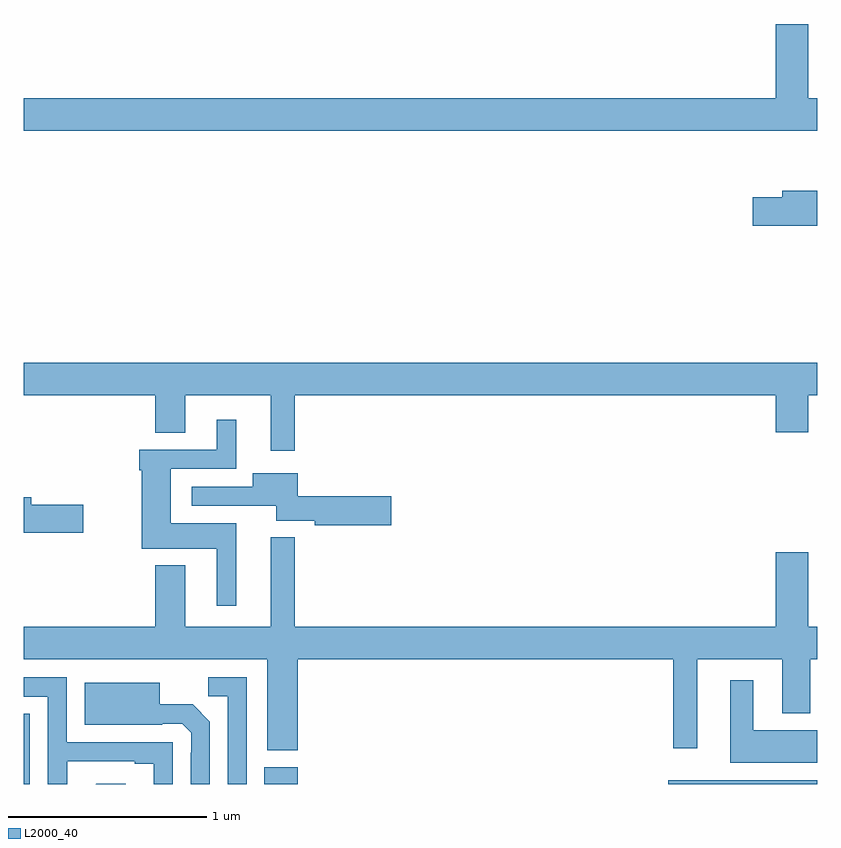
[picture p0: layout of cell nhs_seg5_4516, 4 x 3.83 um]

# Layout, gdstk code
import gdstk
lib = gdstk.Library(unit=1e-6, precision=1e-09)
def R(c, l, rs):  # rectangles x0, y0, x1, y1
    for r in rs: c.add(gdstk.rectangle(r[:2], r[2:], *l))
def P(c, l, *ps):  # polygons
    for p in ps: c.add(gdstk.Polygon(p, *l))
L2000_40 = (2000, 40)

nhs_seg5_4516 = lib.new_cell('nhs_seg5_4516')
R(nhs_seg5_4516, L2000_40, [(377,854.799,377.031,855.154), (378.212,854.799,378.382,854.884), (380.25,854.799,381,854.818)])
P(nhs_seg5_4516, L2000_40, [(381,858.256),(380.956,858.256),(380.956,858.631),(380.792,858.631),(380.792,858.256),(377,858.256),(377,858.092),(381,858.092)],
  [(381,857.791),(380.825,857.791),(380.825,857.757),(380.676,857.757),(380.676,857.615),(381,857.615)],
  [(378.367,856.76),(380.792,856.76),(380.792,856.572),(380.956,856.572),(380.956,856.76),(381,856.76),(381,856.924),(377,856.924),(377,856.76),(377.663,856.76),(377.663,856.57),(377.815,856.57),(377.815,856.76),(378.245,856.76),(378.245,856.479),(378.367,856.479)],
  [(378.07,856.114),(377.74,856.114),(377.74,856.389),(378.07,856.389),(378.07,856.636),(377.972,856.636),(377.972,856.485),(377.582,856.485),(377.582,856.382),(377.594,856.382),(377.594,855.986),(377.972,855.986),(377.972,855.699),(378.07,855.699)],
  [(378.853,856.25),(378.382,856.25),(378.382,856.366),(378.155,856.366),(378.155,856.299),(377.847,856.299),(377.847,856.203),(378.272,856.203),(378.272,856.127),(378.468,856.127),(378.468,856.103),(378.853,856.103)],
  [(377.299,856.208),(377.038,856.208),(377.038,856.244),(377,856.244),(377,856.066),(377.299,856.066)],
  [(378.38,855.428),(380.274,855.428),(380.274,854.979),(380.395,854.979),(380.395,855.428),(380.825,855.428),(380.825,855.155),(380.965,855.155),(380.965,855.428),(381,855.428),(381,855.592),(380.956,855.592),(380.956,855.967),(380.792,855.967),(380.792,855.592),(378.367,855.592),(378.367,856.042),(378.245,856.042),(378.245,855.592),(377.815,855.592),(377.815,855.901),(377.663,855.901),(377.663,855.592),(377,855.592),(377,855.428),(378.227,855.428),(378.227,854.969),(378.38,854.969)],
  [(378.123,855.336),(377.931,855.336),(377.931,855.241),(378.027,855.241),(378.027,854.799),(378.123,854.799)],
  [(377.219,854.913),(377.558,854.913),(377.558,854.901),(377.654,854.901),(377.654,854.799),(377.751,854.799),(377.751,855.009),(377.217,855.009),(377.217,855.336),(377,855.336),(377,855.24),(377.121,855.24),(377.121,854.799),(377.219,854.799)],
  [(381,855.07),(380.677,855.07),(380.677,855.322),(380.561,855.322),(380.561,854.906),(381,854.906)],
  [(377.937,855.114),(377.851,855.2),(377.686,855.2),(377.686,855.31),(377.306,855.31),(377.306,855.098),(377.699,855.098),(377.699,855.102),(377.799,855.102),(377.844,855.057),(377.844,854.957),(377.841,854.957),(377.841,854.799),(377.937,854.799)],
  [(377.515,854.8),(377.364,854.8),(377.363,854.799),(377.515,854.799)])

lib.write_gds('nhs_seg5_4516.gds')
